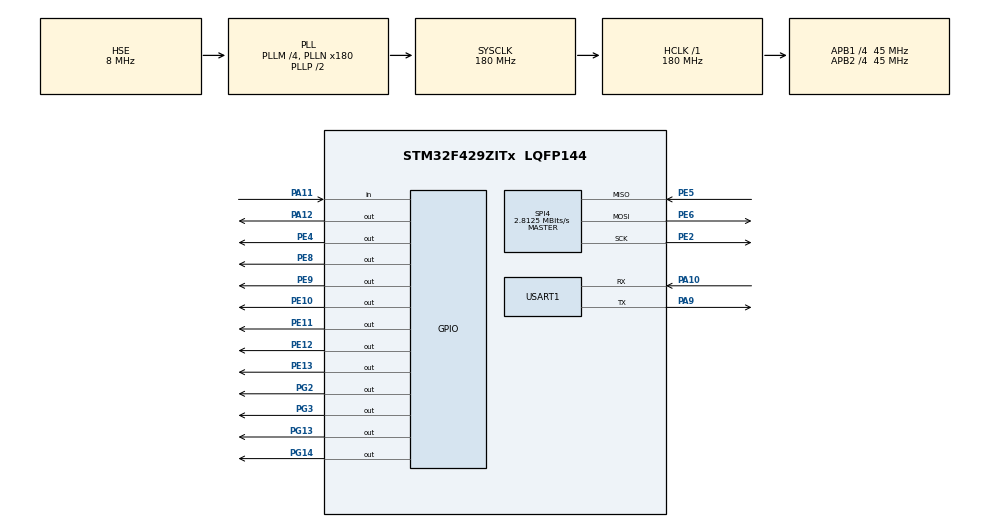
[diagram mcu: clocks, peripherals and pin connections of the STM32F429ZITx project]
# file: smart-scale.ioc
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Mcu.Family=STM32F4
Mcu.Name=STM32F429ZITx
Mcu.Package=LQFP144
NVIC.PriorityGroup=NVIC_PRIORITYGROUP_4
NVIC.TIM6_DAC_IRQn=true\:0\:0\:false\:false\:true\:true\:true\:true
PA10.Mode=Asynchronous
PA10.Signal=USART1_RX
PA11.Signal=GPIO_Input
PA12.Signal=GPIO_Output
PA9.Mode=Asynchronous
PA9.Signal=USART1_TX
PE10.Signal=GPIO_Output
PE11.Signal=GPIO_Output
PE12.Signal=GPIO_Output
PE13.Signal=GPIO_Output
PE2.Mode=Full_Duplex_Master
PE2.Signal=SPI4_SCK
PE4.Signal=GPIO_Output
PE5.Mode=Full_Duplex_Master
PE5.Signal=SPI4_MISO
PE6.Mode=Full_Duplex_Master
PE6.Signal=SPI4_MOSI
PE8.Signal=GPIO_Output
PE9.Signal=GPIO_Output
PG13.Signal=GPIO_Output
PG14.Signal=GPIO_Output
PG2.Signal=GPIO_Output
PG3.Signal=GPIO_Output
PH0/OSC_IN.Mode=HSE-External-Oscillator
PH0/OSC_IN.Signal=RCC_OSC_IN
PH1/OSC_OUT.Mode=HSE-External-Oscillator
PH1/OSC_OUT.Signal=RCC_OSC_OUT
ProjectManager.HeapSize=0x200
ProjectManager.StackSize=0x400
ProjectManager.TargetToolchain=STM32CubeIDE
RCC.48MHZClocksFreq_Value=90000000
RCC.AHBFreq_Value=180000000
RCC.APB1CLKDivider=RCC_HCLK_DIV4
RCC.APB1Freq_Value=45000000
RCC.APB1TimFreq_Value=90000000
RCC.APB2CLKDivider=RCC_HCLK_DIV4
RCC.APB2Freq_Value=45000000
RCC.APB2TimFreq_Value=90000000
RCC.CortexFreq_Value=180000000
RCC.HCLKFreq_Value=180000000
RCC.HSE_VALUE=8000000
RCC.HSI_VALUE=16000000
RCC.LSE_VALUE=32768
RCC.PLLM=4
RCC.PLLN=180
RCC.PLLSourceVirtual=RCC_PLLSOURCE_HSE
RCC.SYSCLKFreq_VALUE=180000000
RCC.SYSCLKSource=RCC_SYSCLKSOURCE_PLLCLK
RCC.VCOOutputFreq_Value=360000000
SPI4.BaudRatePrescaler=SPI_BAUDRATEPRESCALER_16
SPI4.CalculateBaudRate=2.8125 MBits/s
SPI4.Direction=SPI_DIRECTION_2LINES
SPI4.Mode=SPI_MODE_MASTER
SPI4.VirtualType=VM_MASTER
USART1.VirtualMode=VM_ASYNC
VP_TIM6_VS_ClockSourceINT.Mode=Enable_Timer
board=custom

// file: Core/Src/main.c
/* USER CODE BEGIN Header */
/**
  ******************************************************************************
  * @file           : main.c
  * @brief          : Main program body
  ******************************************************************************
  * @attention
  *
  * Copyright (c) 2025 STMicroelectronics.
  * All rights reserved.
  *
  * This software is licensed under terms that can be found in the LICENSE file
  * in the root directory of this software component.
  * If no LICENSE file comes with this software, it is provided AS-IS.
  *
  ******************************************************************************
  */
/* USER CODE END Header */
#include "main.h"

/* USER CODE BEGIN Includes */
#include <stdarg.h>
#include <math.h>
#include <stdio.h>
#include <string.h>
#include "HX711.h"
/* USER CODE END Includes */

/* USER CODE BEGIN PTD */
typedef struct {
    GPIO_TypeDef* port;
    uint16_t pin;
} LED_PinTypeDef;
/* USER CODE END PTD */

/* USER CODE BEGIN PD */
#define FORCE_STABILITY_THRESHOLD  0.01f
#define FORCE_STABILITY_COUNT      5
#define MEASUREMENT_INTERVAL        100
#define DISPLAY_UPDATE_INTERVAL     500
#define FORCE_FILTER_ALPHA         0.8f
#define HX711_DT_PORT GPIOA
#define HX711_DT_PIN  GPIO_PIN_11
#define HX711_SCK_PORT GPIOA
#define HX711_SCK_PIN  GPIO_PIN_12
#define SCALE_FACTOR      20000.0f
/* USER CODE END PD */

SPI_HandleTypeDef hspi4;
TIM_HandleTypeDef htim6;
UART_HandleTypeDef huart1;

/* USER CODE BEGIN PV */
typedef struct {
    float current_force;
    float previous_force;
    float max_force; // Lưu giá trị lực lớn nhất
    uint8_t force_stable_count;
    uint8_t system_ready;
    uint32_t last_measurement_time;
    uint32_t last_display_time;
    float force_threshold;
} scale_state_t;

scale_state_t scale_state = {0};
hx711_t hx711;
char uart_buffer[128];
const LED_PinTypeDef LED_Pins[6] = {
    {GPIOE, GPIO_PIN_8},  // LED1 - PE8
    {GPIOE, GPIO_PIN_9},  // LED2 - PE9
    {GPIOE, GPIO_PIN_10}, // LED3 - PE10
    {GPIOE, GPIO_PIN_11}, // LED4 - PE11
    {GPIOE, GPIO_PIN_12}, // LED5 - PE12
    {GPIOE, GPIO_PIN_13}  // LED6 - PE13
};
/* USER CODE END PV */

void SystemClock_Config(void);
static void MX_GPIO_Init(void);
static void MX_SPI4_Init(void);
static void MX_USART1_UART_Init(void);
static void MX_TIM6_Init(void);
/* USER CODE BEGIN PFP */
void scale_init(void);
void scale_calibrate(void);
float scale_read_force(void);
float scale_filter_force(float raw_force);
uint8_t scale_is_force_stable(float force);
void scale_display_force(float force, float max_force);
void scale_send_uart_data(const char* format, ...);
void scale_handle_error(const char* error_msg);
void LED_Control(uint8_t led_num, uint8_t state);
void DisplayNumber(uint8_t num);
void BlinkLEDs(uint8_t times, uint16_t delay_ms);
/* USER CODE END PFP */

/* USER CODE BEGIN 0 */
void LED_Control(uint8_t led_num, uint8_t state) {
    if (led_num >= 1 && led_num <= 6) {
        HAL_GPIO_WritePin(LED_Pins[led_num-1].port,
                         LED_Pins[led_num-1].pin,
                         (state) ? GPIO_PIN_SET : GPIO_PIN_RESET);
    }
}

void DisplayNumber(uint8_t num) {
    if (num > 6) num = 6; // Giới hạn tối đa 6 LED

    for (int i = 0; i < 6; i++) {
        HAL_GPIO_WritePin(LED_Pins[i].port, LED_Pins[i].pin,
                         (i < num) ? GPIO_PIN_SET : GPIO_PIN_RESET);
    }
}

void BlinkLEDs(uint8_t times, uint16_t delay_ms) {
    for (uint8_t i = 0; i < times; i++) {
        // Bật tất cả LED
        for (int j = 0; j < 6; j++) {
            HAL_GPIO_WritePin(LED_Pins[j].port, LED_Pins[j].pin, GPIO_PIN_SET);
        }
        HAL_Delay(delay_ms);

        // Tắt tất cả LED
        for (int j = 0; j < 6; j++) {
            HAL_GPIO_WritePin(LED_Pins[j].port, LED_Pins[j].pin, GPIO_PIN_RESET);
        }
        HAL_Delay(delay_ms);
    }
}

void scale_init(void) {
    scale_send_uart_data("Initializing HX711 load cell...\r\n");
    hx711_init(&hx711, HX711_SCK_PORT, HX711_SCK_PIN, HX711_DT_PORT, HX711_DT_PIN);
    set_gain(&hx711, 128, 32);

    if (is_ready(&hx711)) {
        scale_send_uart_data("HX711 ready!\r\n");
    } else {
        scale_send_uart_data("HX711 not ready!\r\n");
    }

    set_scale(&hx711, SCALE_FACTOR, SCALE_FACTOR);
    scale_calibrate();

    scale_state.current_force = 0.0f;
    scale_state.previous_force = 0.0f;
    scale_state.max_force = 0.0f; // Khởi tạo lực lớn nhất
    scale_state.force_stable_count = 0;
    scale_state.force_threshold = FORCE_STABILITY_THRESHOLD;
    scale_state.system_ready = 0;
}

void scale_calibrate(void) {
    scale_send_uart_data("Calibrating...\r\n");
    HAL_Delay(2000);
    tare_all(&hx711, 10);
    scale_send_uart_data("Calibration complete\r\n");
}

float scale_read_force(void) {
    if (!is_ready(&hx711)) return 0.0f;

    float force = get_weight(&hx711, 1, CHANNEL_A);
    return (force < 0.0f) ? 0.0f : force;
}

float scale_filter_force(float raw_force) {
    static float filtered_force = 0.0f;
    static uint8_t first_reading = 1;

    if (first_reading) {
        filtered_force = raw_force;
        first_reading = 0;
    } else {
        filtered_force = FORCE_FILTER_ALPHA * raw_force + (1.0f - FORCE_FILTER_ALPHA) * filtered_force;
    }
    return filtered_force;
}

uint8_t scale_is_force_stable(float force) {
    float force_diff = fabsf(force - scale_state.previous_force);

    if (force_diff < scale_state.force_threshold) {
        scale_state.force_stable_count++;
        if (scale_state.force_stable_count >= FORCE_STABILITY_COUNT) {
            scale_state.force_stable_count = FORCE_STABILITY_COUNT;
            scale_state.previous_force = force;
            return 1;
        }
    } else {
        scale_state.force_stable_count = 0;
        scale_state.previous_force = force;
    }
    return 0;
}

void scale_display_force(float force, float max_force) {
    if (force < 0.0f) force = 0.0f;
    if (max_force < 0.0f) max_force = 0.0f;

    // Giảm ngưỡng và thêm deadzone
    if (force < 0.02f) {  // Ngưỡng thấp hơn để tránh nhiễu
        DisplayNumber(0);
        scale_send_uart_data("Force: 0.00 N (LEDs: 0) | Max Force: %.2f N\r\n", max_force);
        return;
    }

    if (force > 9.9f) force = 9.9f;
    if (max_force > 9.9f) max_force = 9.9f;

    // Tính số LED cần sáng (0-6) cho lực lớn nhất
    uint8_t leds_to_light = (uint8_t)((max_force / 9.9f) * 6 + 0.5f);
    DisplayNumber(leds_to_light);
    scale_send_uart_data("Force: %.2f N (LEDs: %d) | Max Force: %.2f N\r\n", force, leds_to_light, max_force);
}

void scale_send_uart_data(const char* format, ...) {
    va_list args;
    va_start(args, format);
    int len = vsnprintf(uart_buffer, sizeof(uart_buffer), format, args);
    va_end(args);

    if (len > 0 && len < sizeof(uart_buffer)) {
        HAL_UART_Transmit(&huart1, (uint8_t*)uart_buffer, len, 1000);
    }
}

void scale_handle_error(const char* error_msg) {
    scale_send_uart_data("ERROR: %s\r\n", error_msg);
    for (int i = 0; i < 5; i++) {
        HAL_GPIO_WritePin(GPIOE, GPIO_PIN_8 | GPIO_PIN_9 | GPIO_PIN_10 | GPIO_PIN_11 | GPIO_PIN_12 | GPIO_PIN_13, GPIO_PIN_SET);
        HAL_Delay(200);
        HAL_GPIO_WritePin(GPIOE, GPIO_PIN_8 | GPIO_PIN_9 | GPIO_PIN_10 | GPIO_PIN_11 | GPIO_PIN_12 | GPIO_PIN_13, GPIO_PIN_RESET);
        HAL_Delay(200);
    }
}
/* USER CODE END 0 */

int main(void) {
    HAL_Init();
    SystemClock_Config();
    MX_GPIO_Init();
    MX_SPI4_Init();
    MX_USART1_UART_Init();
    MX_TIM6_Init();

    /* USER CODE BEGIN 2 */
    scale_init();
    DisplayNumber(0);

    scale_state.system_ready = 1;
    scale_state.last_measurement_time = HAL_GetTick();
    scale_state.last_display_time = HAL_GetTick();
    /* USER CODE END 2 */

    while (1) {
        uint32_t current_time = HAL_GetTick();

        if (current_time - scale_state.last_measurement_time >= MEASUREMENT_INTERVAL) {
            scale_state.last_measurement_time = current_time;
            float raw_force = scale_read_force();
            float filtered_force = scale_filter_force(raw_force);
            scale_state.current_force = filtered_force;

            // Cập nhật lực lớn nhất
            if (filtered_force > scale_state.max_force) {
                scale_state.max_force = filtered_force;
            }

            if (scale_is_force_stable(filtered_force)) {
                if (current_time - scale_state.last_display_time >= DISPLAY_UPDATE_INTERVAL) {
                    scale_state.last_display_time = current_time;
                    scale_display_force(scale_state.current_force, scale_state.max_force);
                }
            } else {
                if (current_time - scale_state.last_display_time >= (DISPLAY_UPDATE_INTERVAL / 2)) {
                    scale_state.last_display_time = current_time;
                    scale_display_force(scale_state.current_force, scale_state.max_force);
                }
            }
        }
        HAL_Delay(10);
    }
}

void SystemClock_Config(void) {
    RCC_OscInitTypeDef RCC_OscInitStruct = {0};
    RCC_ClkInitTypeDef RCC_ClkInitStruct = {0};

    __HAL_RCC_PWR_CLK_ENABLE();
    __HAL_PWR_VOLTAGESCALING_CONFIG(PWR_REGULATOR_VOLTAGE_SCALE1);

    RCC_OscInitStruct.OscillatorType = RCC_OSCILLATORTYPE_HSE;
    RCC_OscInitStruct.HSEState = RCC_HSE_ON;
    RCC_OscInitStruct.PLL.PLLState = RCC_PLL_ON;
    RCC_OscInitStruct.PLL.PLLSource = RCC_PLLSOURCE_HSE;
    RCC_OscInitStruct.PLL.PLLM = 4;
    RCC_OscInitStruct.PLL.PLLN = 180;
    RCC_OscInitStruct.PLL.PLLP = RCC_PLLP_DIV2;
    RCC_OscInitStruct.PLL.PLLQ = 4;
    HAL_RCC_OscConfig(&RCC_OscInitStruct);

    HAL_PWREx_EnableOverDrive();

    RCC_ClkInitStruct.ClockType = RCC_CLOCKTYPE_HCLK|RCC_CLOCKTYPE_SYSCLK
                                |RCC_CLOCKTYPE_PCLK1|RCC_CLOCKTYPE_PCLK2;
    RCC_ClkInitStruct.SYSCLKSource = RCC_SYSCLKSOURCE_PLLCLK;
    RCC_ClkInitStruct.AHBCLKDivider = RCC_SYSCLK_DIV1;
    RCC_ClkInitStruct.APB1CLKDivider = RCC_HCLK_DIV4;
    RCC_ClkInitStruct.APB2CLKDivider = RCC_HCLK_DIV4;
    HAL_RCC_ClockConfig(&RCC_ClkInitStruct, FLASH_LATENCY_5);
}

static void MX_GPIO_Init(void) {
    GPIO_InitTypeDef GPIO_InitStruct = {0};

    __HAL_RCC_GPIOE_CLK_ENABLE();
    __HAL_RCC_GPIOH_CLK_ENABLE();
    __HAL_RCC_GPIOA_CLK_ENABLE();
    __HAL_RCC_GPIOB_CLK_ENABLE();

    HAL_GPIO_WritePin(GPIOE, GPIO_PIN_8|GPIO_PIN_9|GPIO_PIN_10|GPIO_PIN_11
                            |GPIO_PIN_12|GPIO_PIN_13, GPIO_PIN_RESET);

    /*Configure GPIO pins : PE8 PE9 PE10 PE11 PE12 PE13 */
    GPIO_InitStruct.Pin = GPIO_PIN_8|GPIO_PIN_9|GPIO_PIN_10
                          |GPIO_PIN_11|GPIO_PIN_12|GPIO_PIN_13;
    GPIO_InitStruct.Mode = GPIO_MODE_OUTPUT_PP;
    GPIO_InitStruct.Pull = GPIO_NOPULL;
    GPIO_InitStruct.Speed = GPIO_SPEED_FREQ_LOW;
    HAL_GPIO_Init(GPIOE, &GPIO_InitStruct);
}

static void MX_SPI4_Init(void) {
    hspi4.Instance = SPI4;
    hspi4.Init.Mode = SPI_MODE_MASTER;
    hspi4.Init.Direction = SPI_DIRECTION_2LINES;
    hspi4.Init.DataSize = SPI_DATASIZE_8BIT;
    hspi4.Init.CLKPolarity = SPI_POLARITY_LOW;
    hspi4.Init.CLKPhase = SPI_PHASE_1EDGE;
    hspi4.Init.NSS = SPI_NSS_SOFT;
    hspi4.Init.BaudRatePrescaler = SPI_BAUDRATEPRESCALER_16;
    hspi4.Init.FirstBit = SPI_FIRSTBIT_MSB;
    hspi4.Init.TIMode = SPI_TIMODE_DISABLE;
    hspi4.Init.CRCCalculation = SPI_CRCCALCULATION_DISABLE;
    hspi4.Init.CRCPolynomial = 10;
    HAL_SPI_Init(&hspi4);
}

static void MX_TIM6_Init(void) {
    htim6.Instance = TIM6;
    htim6.Init.Prescaler = 0;
    htim6.Init.CounterMode = TIM_COUNTERMODE_UP;
    htim6.Init.Period = 65535;
    htim6.Init.AutoReloadPreload = TIM_AUTORELOAD_PRELOAD_DISABLE;
    HAL_TIM_Base_Init(&htim6);
}

static void MX_USART1_UART_Init(void) {
    huart1.Instance = USART1;
    huart1.Init.BaudRate = 115200;
    huart1.Init.WordLength = UART_WORDLENGTH_8B;
    huart1.Init.StopBits = UART_STOPBITS_1;
    huart1.Init.Parity = UART_PARITY_NONE;
    huart1.Init.Mode = UART_MODE_TX_RX;
    huart1.Init.HwFlowCtl = UART_HWCONTROL_NONE;
    huart1.Init.OverSampling = UART_OVERSAMPLING_16;
    HAL_UART_Init(&huart1);
}

void Error_Handler(void) {
    __disable_irq();
    while (1) {}
}
